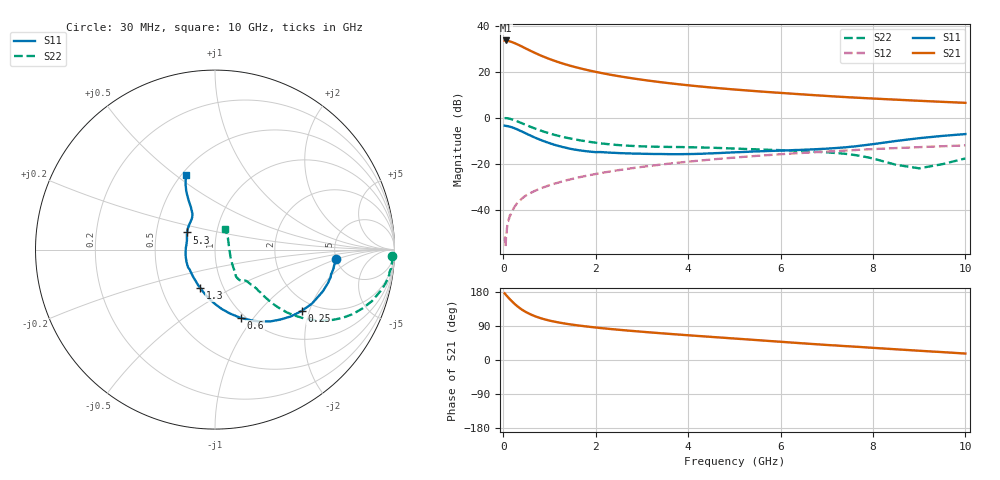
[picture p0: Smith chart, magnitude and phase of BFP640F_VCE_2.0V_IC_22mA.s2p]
! Infineon Technologies  Discrete & RF Semiconductors
! BFP640F
! VCE =  2.0 V,  IC =  22 mA
! Common Emitter S-Parameters:  Apr 2013
# GHz  S  MA  R  50
!  f  S11  S21  S12  S22
! GHz  MAG  ANG  MAG  ANG  MAG  ANG  MAG  ANG
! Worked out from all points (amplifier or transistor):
!   99 points, 30 MHz to 10 GHz, reference 50 ohm
!   highest |S21| = 33.7 dB at 50 MHz (marker M1)
!   |S21| within 3 dB of that: start of sweep to 438.8 MHz
!   unconditionally stable (mu >= 1): 2.146 GHz to end of sweep
!   at 350 MHz: K = 0.38, MSG = 33.9 dB, |S12| = -36.2 dB
!   at 3.5 GHz: K = 1.05, MAG = 16.4 dB, |S12| = -20.2 dB
!   at 10 GHz: K = 1.05, MAG = 8.0 dB, |S12| = -12.0 dB
!   S11 on the Smith chart (normalised r, x): 30 MHz: 4.98, -0.93; 250 MHz: 1.69, -1.78; 600 MHz: 0.95, -0.87; 1.3 GHz: 0.78, -0.35; 5.3 GHz: 0.72, +0.14; 10 GHz: 0.53, +0.54
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0.03  0.6751 -4.3  48.27 176.0  0.0021 101.7  0.9866 -2.0
0.05  0.6694 -7.6  48.63 173.2  0.0016 77.9  0.9891 -4.3
0.09  0.6624 -13.4  47.83 167.5  0.0047 87.4  0.9808 -8.3
0.15  0.6402 -22.2  46.22 159.5  0.0074 79.8  0.951 -14.0
0.2  0.6188 -29.0  44.36 153.4  0.0095 80.5  0.9202 -18.2
0.25  0.5915 -35.4  42.39 147.7  0.0118 77.9  0.883 -21.9
0.3  0.5636 -41.3  40.27 142.4  0.0138 75.8  0.8446 -25.3
0.4  0.5061 -52.2  36.04 133.3  0.0173 71.2  0.7663 -30.7
0.5  0.4539 -61.2  32.06 126.0  0.0206 70.8  0.6964 -34.6
0.6  0.4065 -69.4  28.62 119.9  0.0233 70.3  0.6333 -37.5
0.7  0.3666 -76.7  25.66 114.9  0.0261 69.3  0.5788 -39.5
0.9  0.3049 -89.5  21.02 107.1  0.0313 68.5  0.493 -42.1
1.1  0.2606 -100.9  17.65 101.4  0.0365 67.9  0.4294 -43.2
1.3  0.2294 -111.0  15.14 96.9  0.0419 67.7  0.3825 -43.5
1.7  0.193 -129.7  11.77 90.0  0.0522 67.0  0.3191 -43.2
2.4  0.1731 -156.2  8.433 80.9  0.0702 64.7  0.2598 -44.5
3.4  0.1631 177.6  6.006 70.7  0.0956 60.8  0.2338 -47.5
5.1  0.1789 150.7  4.08 55.8  0.1388 52.4  0.2129 -51.5
5.3  0.1824 148.4  3.934 54.2  0.1438 51.3  0.2089 -51.7
6.7  0.2061 131.6  3.14 42.2  0.1773 43.4  0.1843 -51.4
8.5  0.3138 118.1  2.492 28.2  0.2197 33.0  0.0949 -24.9
10  0.4435 111.3  2.126 17.0  0.2512 24.2  0.1306 64.0
